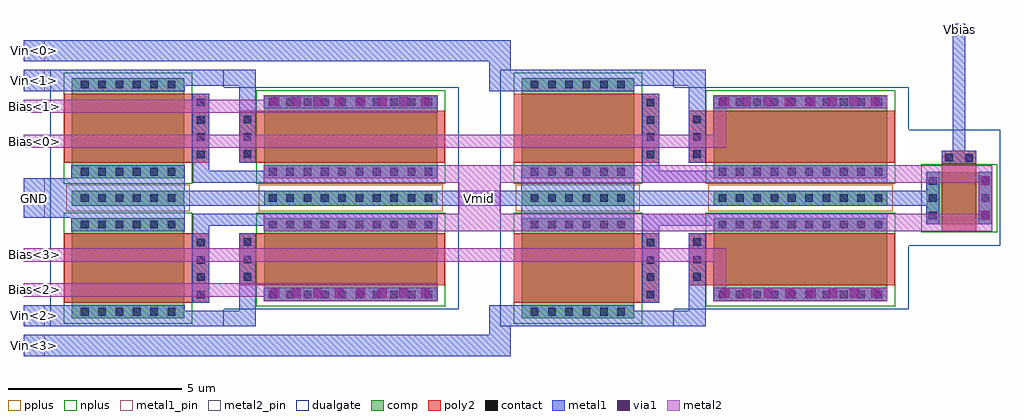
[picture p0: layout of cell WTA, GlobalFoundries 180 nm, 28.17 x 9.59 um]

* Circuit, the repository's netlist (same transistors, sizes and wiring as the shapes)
* Extracted by KLayout with GF180MCU LVS runset on : 05/10/2026 16:12

* cell WTA
.SUBCKT WTA
* cell instance $1 r270 *1 12.36,1.44
X$1 GND Vin<3> GND \$I5 \$6 gf180mcu_gnd nfet
* cell instance $2 r270 *1 17.91,1.44
X$2 \$6 Bias<3> GND \$I11 Vin<3> gf180mcu_gnd nfet$2
* cell instance $3 r270 *1 4.93,1.44
X$3 \$5 Bias<2> GND \$I12 Vin<2> gf180mcu_gnd nfet$2
* cell instance $4 r270 *1 -0.62,1.44
X$4 GND Vin<2> GND \$I4 \$5 gf180mcu_gnd nfet
* cell instance $5 r0 *1 24.05,1.27
X$5 GND Vmid Vbias gf180mcu_gnd nfet$5
* cell instance $6 r90 *1 2.63,2.6
X$6 GND Vin<1> GND \$I4 \$9 gf180mcu_gnd nfet
* cell instance $7 r90 *1 15.61,2.6
X$7 GND Vin<0> GND \$I5 \$11 gf180mcu_gnd nfet
* cell instance $8 r90 *1 9.93,2.6
X$8 \$9 Bias<1> GND \$I12 Vin<1> gf180mcu_gnd nfet$2
* cell instance $9 r90 *1 22.91,2.6
X$9 \$11 Bias<0> GND \$I11 Vin<0> gf180mcu_gnd nfet$2
.ENDS WTA

* cell nfet$5
* pin 
* pin 
* pin 
* pin gf180mcu_gnd
.SUBCKT nfet$5 \$1 \$2 \$4 gf180mcu_gnd
* device instance $1 r0 *1 0.94,0.75 nfet_06v0
M$1 \$2 \$4 \$1 gf180mcu_gnd nfet_06v0 L=1U W=1.5U AS=0.66P AD=0.66P PS=3.88U
+ PD=3.88U
.ENDS nfet$5

* cell nfet$2
* pin 
* pin 
* pin 
* pin 
* pin 
* pin gf180mcu_gnd
.SUBCKT nfet$2 \$1 \$2 \$3 \$5 \$6 gf180mcu_gnd
* device instance $1 r0 *1 1.19,2.5 nfet_06v0
M$1 \$2 \$6 \$1 gf180mcu_gnd nfet_06v0 L=1.5U W=5U AS=2.2P AD=2.2P PS=10.88U
+ PD=10.88U
.ENDS nfet$2

* cell nfet
* pin 
* pin 
* pin 
* pin 
* pin 
* pin gf180mcu_gnd
.SUBCKT nfet \$1 \$2 \$3 \$5 \$6 gf180mcu_gnd
* device instance $1 r0 *1 1.44,1.625 nfet_06v0
M$1 \$2 \$6 \$1 gf180mcu_gnd nfet_06v0 L=2U W=3.25U AS=1.43P AD=1.43P PS=7.38U
+ PD=7.38U
.ENDS nfet

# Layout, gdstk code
from math import pi, radians
import gdstk
lib = gdstk.Library(unit=1e-6, precision=1e-09)
def R(c, l, rs):  # rectangles x0, y0, x1, y1
    for r in rs: c.add(gdstk.rectangle(r[:2], r[2:], *l))
def A(c, l, x, y, w, h, nx, ny, dx, dy):  # array of equal rectangles
    R(c, l, [(x+i*dx, y+j*dy, x+i*dx+w, y+j*dy+h) for i in range(nx) for j in range(ny)])
def P(c, l, *ps):  # polygons
    for p in ps: c.add(gdstk.Polygon(p, *l))
comp = (22, 0)
poly2 = (30, 0)
pplus = (31, 0)
nplus = (32, 0)
contact = (33, 0)
metal1 = (34, 0)
metal1_pin = (34, 10)
via1 = (35, 0)
metal2 = (36, 0)
metal2_pin = (36, 10)
dualgate = (55, 0)

nfet = lib.new_cell('nfet')
R(nfet, comp, [(-0.8,0,-0.36,3.25), (0,0,2.88,3.25)])
R(nfet, poly2, [(0.44,-0.22,2.44,3.47)])
R(nfet, pplus, [(-0.96,-0.16,-0.2,3.41)])
R(nfet, nplus, [(-0.16,-0.23,3.04,3.48)])
A(nfet, contact, -0.69, 0.265, 0.22, 0.22, 1, 6, 0, 0.5)
A(nfet, contact, 0.07, 0.265, 0.22, 0.22, 1, 6, 0, 0.5)
A(nfet, contact, 2.59, 0.265, 0.22, 0.22, 1, 6, 0, 0.5)
R(nfet, metal1, [(-0.01,-0.01,0.37,3.26), (2.51,-0.01,2.89,3.26), (-0.8,0,-0.36,3.25)])
R(nfet, dualgate, [(-1.04,-0.62,3.12,3.87)])

nfet_2 = lib.new_cell('nfet$2')
R(nfet_2, comp, [(-0.8,0,-0.36,5), (0,0,2.38,5)])
R(nfet_2, poly2, [(0.44,-0.22,1.94,5.22)])
R(nfet_2, pplus, [(-0.96,-0.16,-0.2,5.16)])
R(nfet_2, nplus, [(-0.16,-0.23,2.54,5.23)])
A(nfet_2, contact, -0.69, 0.14, 0.22, 0.22, 1, 10, 0, 0.5)
A(nfet_2, contact, 0.07, 0.14, 0.22, 0.22, 1, 10, 0, 0.5)
A(nfet_2, contact, 2.09, 0.14, 0.22, 0.22, 1, 10, 0, 0.5)
R(nfet_2, metal1, [(-0.01,-0.01,0.37,5.01), (2.01,-0.01,2.39,5.01), (-0.8,0,-0.36,5)])
R(nfet_2, dualgate, [(-1.04,-0.62,2.62,5.62)])

nfet_5 = lib.new_cell('nfet$5')
R(nfet_5, comp, [(0,0,1.88,1.5)])
R(nfet_5, poly2, [(0.44,-0.22,1.44,1.72)])
R(nfet_5, nplus, [(-0.16,-0.23,2.04,1.73)])
A(nfet_5, contact, 0.07, 0.14, 0.22, 0.22, 1, 3, 0, 0.5)
A(nfet_5, contact, 1.59, 0.14, 0.22, 0.22, 1, 3, 0, 0.5)
R(nfet_5, metal1, [(-0.01,-0.01,0.37,1.51), (1.51,-0.01,1.89,1.51)])
R(nfet_5, dualgate, [(-0.24,-0.62,2.12,2.12)])

wta = lib.new_cell('WTA')
R(wta, poly2, [(2.85,-1,3.35,1), (15.83,-1,16.33,1), (4.21,-0.5,4.71,1), (17.19,-0.5,17.69,1), (24.49,2.99,25.49,3.39), (2.85,3.04,3.35,5.04), (4.21,3.04,4.71,4.54), (15.83,3.04,16.33,5.04), (17.19,3.04,17.69,4.54)])
A(wta, contact, 2.99, -0.87, 0.22, 0.22, 1, 4, 0, 0.5)
A(wta, contact, 15.97, -0.87, 0.22, 0.22, 1, 4, 0, 0.5)
A(wta, contact, 4.34, -0.36, 0.22, 0.22, 1, 3, 0, 0.5)
A(wta, contact, 17.32, -0.36, 0.22, 0.22, 1, 3, 0, 0.5)
A(wta, contact, 2.99, 3.17, 0.22, 0.22, 1, 4, 0, 0.5)
A(wta, contact, 15.97, 3.17, 0.22, 0.22, 1, 4, 0, 0.5)
A(wta, contact, 4.34, 3.18, 0.22, 0.22, 1, 3, 0, 0.5)
A(wta, contact, 17.32, 3.18, 0.22, 0.22, 1, 3, 0, 0.5)
R(wta, contact, [(25.17,3.07,25.39,3.29), (24.59,3.08,24.81,3.3)])
R(wta, metal1, [(-2,-2.54,-0.63,-1.93), (-2,-2.54,-0.63,-1.93), (-2,-1.68,-0.63,-1.07), (-0.63,-1.68,3.77,-1.23), (3.77,-1.68,4.21,-1.23), (4.21,-1.68,4.69,-0.5), (12.045,-1.68,12.35,-1.07), (12.35,-1.68,16.75,-1.23), (16.75,-1.68,17.19,-1.23), (17.19,-1.68,17.67,-0.5), (2.86,-1,3.35,1), (15.84,-1,16.33,1), (4.21,-0.5,4.69,1), (17.19,-0.5,17.67,1), (2.87,1,3.35,1.45), (15.85,1,16.33,1.45), (3.35,1.23,4.92,1.45), (16.33,1.23,17.9,1.45), (-2,1.45,-0.63,2.59), (-0.63,1.45,2.64,2.97), (2.87,1.45,5,1.57), (5,1.45,9.94,1.57), (12.35,1.45,15.62,2.97), (15.85,1.45,17.98,1.57), (17.98,1.45,22.92,1.57), (2.63,1.8,4.93,2.24), (9.93,1.8,12.36,2.24), (15.61,1.8,17.91,2.24), (22.91,1.8,24.04,2.24), (2.87,2.47,5,2.59), (5,2.47,9.94,2.59), (15.85,2.47,17.98,2.59), (17.98,2.47,22.92,2.59), (2.87,2.59,3.35,3.04), (3.35,2.59,4.92,2.81), (15.85,2.59,16.33,3.04), (16.33,2.59,17.9,2.81), (24.49,3.01,25.49,3.39), (2.86,3.04,3.35,5.04), (4.21,3.04,4.69,4.54), (15.84,3.04,16.33,5.04), (17.19,3.04,17.67,4.54), (24.81,3.08,25.17,7.05), (4.21,4.54,4.69,5.72), (17.19,4.54,17.67,5.72), (-2,5.11,-0.63,5.72), (12.045,5.11,12.35,5.72), (-0.63,5.27,3.77,5.72), (3.77,5.27,4.21,5.72), (12.35,5.27,16.75,5.72), (16.75,5.27,17.19,5.72), (-2,5.97,-0.63,6.58), (-2,5.97,-0.63,6.58)])
R(wta, metal1_pin, [(-2,-2.54,-1.4,-1.93), (-2,-1.68,-1.4,-1.07), (-2,1.45,-1.4,2.59), (-2,5.11,-1.4,5.72), (-2,5.97,-1.4,6.58), (24.81,6.7,25.17,7.05)])
A(wta, via1, 5.11, -0.85, 0.26, 0.26, 8, 2, 0.62, 5.52)
A(wta, via1, 18.11, -0.85, 0.26, 0.26, 8, 1, 0.62, 0)
A(wta, via1, 18.1, 4.67, 0.26, 0.26, 8, 1, 0.62, 0)
R(wta, via1, [(25.62,1.39,25.88,1.65), (25.62,2.39,25.88,2.65)])
R(wta, metal2, [(4.92,-0.95,9.94,-0.57), (4.92,-0.95,9.94,-0.44), (17.9,-0.95,22.92,-0.57), (17.9,-0.95,18.27,0.57), (4.92,1.07,22.92,1.57), (10.55,1.07,11.74,2.97), (22.92,1.07,25.94,1.57), (25.56,1.26,25.94,2.78), (4.92,2.47,22.92,2.97), (22.92,2.47,25.94,2.97), (17.9,3.47,18.27,4.99), (4.92,4.48,9.94,4.99), (4.92,4.61,9.94,4.99), (17.9,4.61,22.92,4.99)])
P(wta, metal2, [(-2,4.48),(-2,4.68),(-2,4.86),(4.92,4.86),(4.92,4.48)],
  [(-2,-0.82),(-2,-0.64),(-2,-0.44),(4.92,-0.44),(4.92,-0.82)],
  [(-2,3.47),(-2,3.67),(-2,3.85),(4.92,3.85),(4.92,3.47)],
  [(-2,0.19),(-2,0.37),(-2,0.57),(4.92,0.57),(4.92,0.19)])
R(wta, metal2_pin, [(-2,-0.82,-1.4,-0.44), (-2,0.19,-1.4,0.57), (-2,3.47,-1.4,3.85), (-2,4.48,-1.4,4.86)])
R(wta, dualgate, [(3.25,-1.68,3.77,5.72), (16.23,-1.68,16.75,5.72), (3.77,-1.18,4.31,5.22), (16.75,-1.18,17.29,5.22), (23.53,0.65,23.81,3.39), (23.53,2.97,26.17,4)])
wta.add(gdstk.FlexPath([(-0.63,6.275),(11.74,6.275),(11.74,5.11),(11.74,5.11)], 0.61, ends="flush", simple_path=True, layer=34, datatype=0))  # metal1
wta.add(gdstk.FlexPath([(-0.63,-2.235),(11.74,-2.235),(11.74,-1.07),(11.74,-1.07)], 0.61, ends="flush", simple_path=True, layer=34, datatype=0))  # metal1
wta.add(gdstk.FlexPath([(4.92,3.66),(17.91,3.66)], 0.38, ends="flush", simple_path=True, layer=36, datatype=0))  # metal2
wta.add(gdstk.FlexPath([(4.92,0.38),(17.91,0.38)], 0.38, ends="flush", simple_path=True, layer=36, datatype=0))  # metal2
wta.add(gdstk.Reference(nfet, (15.61,2.6), rotation=pi/2))
wta.add(gdstk.Reference(nfet, (12.36,1.44), rotation=3*pi/2))
wta.add(gdstk.Reference(nfet_2, (22.91,2.6), rotation=pi/2))
wta.add(gdstk.Reference(nfet_2, (17.91,1.44), rotation=3*pi/2))
wta.add(gdstk.Reference(nfet, (2.63,2.6), rotation=pi/2))
wta.add(gdstk.Reference(nfet, (-0.62,1.44), rotation=3*pi/2))
wta.add(gdstk.Reference(nfet_2, (4.93,1.44), rotation=3*pi/2))
wta.add(gdstk.Reference(nfet_2, (9.93,2.6), rotation=pi/2))
wta.add(gdstk.Reference(nfet_5, (24.05,1.27)))
wta.add(gdstk.Label('Vmid', (11.145,2.02), layer=36, texttype=10))
wta.add(gdstk.Label('Bias<1>', (-1.7,4.67), layer=36, texttype=10))
wta.add(gdstk.Label('Bias<0>', (-1.7,3.66), layer=36, texttype=10))
wta.add(gdstk.Label('Bias<2>', (-1.7,-0.63), layer=36, texttype=10))
wta.add(gdstk.Label('Bias<3>', (-1.7,0.38), layer=36, texttype=10))
wta.add(gdstk.Label('Vin<0>', (-1.7,6.275), layer=34, texttype=10))
wta.add(gdstk.Label('Vin<1>', (-1.7,5.415), layer=34, texttype=10))
wta.add(gdstk.Label('Vin<2>', (-1.7,-1.375), layer=34, texttype=10))
wta.add(gdstk.Label('Vin<3>', (-1.7,-2.235), layer=34, texttype=10))
wta.add(gdstk.Label('GND', (-1.7,2.02), layer=34, texttype=10))
wta.add(gdstk.Label('Vbias', (24.99,6.875), layer=34, texttype=10))

lib.write_gds('WTA.gds')
